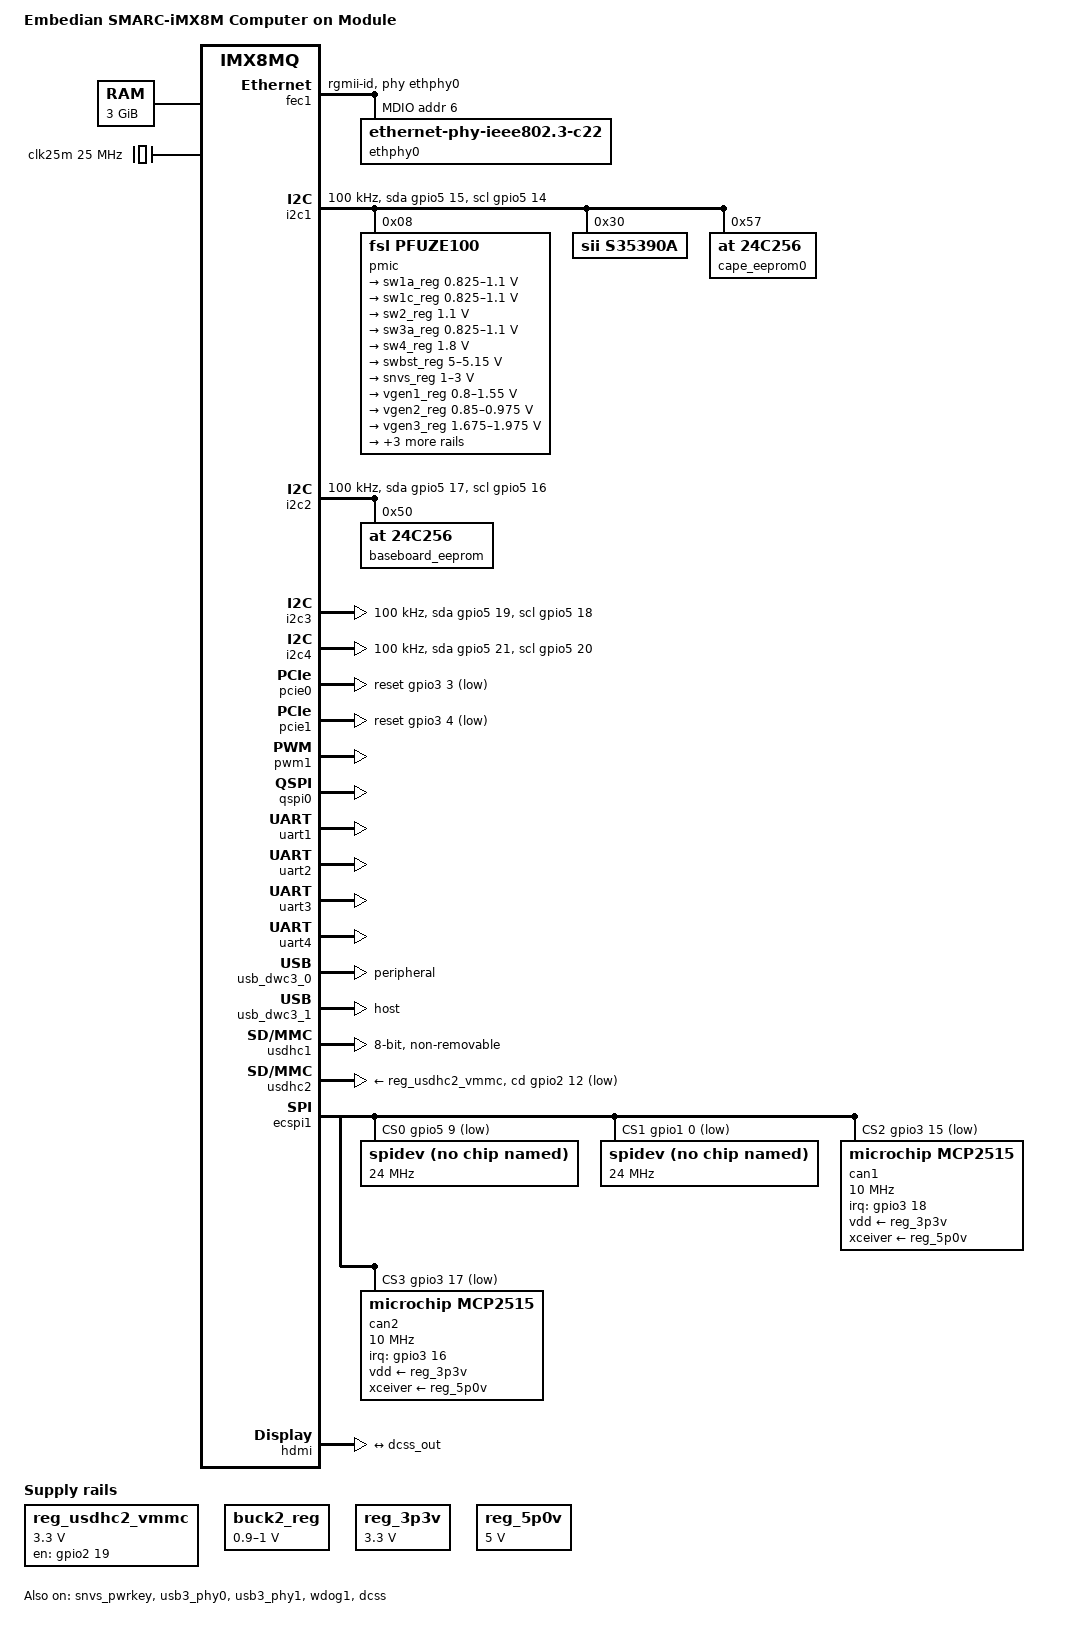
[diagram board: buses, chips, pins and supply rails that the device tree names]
// SPDX-License-Identifier: (GPL-2.0 OR MIT)
/*
 * Copyright 2017 NXP
 * Copyright (C) 2017-2018 Pengutronix, Lucas Stach <kernel@pengutronix.de>
 */

/dts-v1/;

#include "imx8mq.dtsi"

/ {
	model = "Embedian SMARC-iMX8M Computer on Module";
	compatible = "embedian,imx8mq-smarcimx8m", "fsl,imx8mq";

	firmware {
		optee {
			compatible = "linaro,optee-tz";
			method = "smc";
		};
	};

	memory@40000000 {
		device_type = "memory";
		reg = <0x00000000 0x40000000 0 0xc0000000>;
	};

	reg_usdhc2_vmmc: regulator-vsd-3v3 {
		pinctrl-names = "default";
		pinctrl-0 = <&pinctrl_reg_usdhc2>;
		compatible = "regulator-fixed";
		regulator-name = "VSD_3V3";
		regulator-min-microvolt = <3300000>;
		regulator-max-microvolt = <3300000>;
		gpio = <&gpio2 19 GPIO_ACTIVE_HIGH>;
		off-on-delay-us = <20000>;
		enable-active-high;
	};

	buck2_reg: regulator-buck2 {
		pinctrl-names = "default";
		pinctrl-0 = <&pinctrl_buck2>;
		compatible = "regulator-gpio";
		regulator-name = "vdd_arm";
		regulator-min-microvolt = <900000>;
		regulator-max-microvolt = <1000000>;
		gpios = <&gpio1 13 GPIO_ACTIVE_HIGH>;
		states = <1000000 0x0
			  900000 0x1>;
	};

        backlight: backlight {
                compatible = "pwm-backlight";
                pwms = <&pwm1 0 1000000 0>;
                brightness-levels = < 0  1  2  3  4  5  6  7  8  9
                                     10 11 12 13 14 15 16 17 18 19
                                     20 21 22 23 24 25 26 27 28 29
                                     30 31 32 33 34 35 36 37 38 39
                                     40 41 42 43 44 45 46 47 48 49
                                     50 51 52 53 54 55 56 57 58 59
                                     60 61 62 63 64 65 66 67 68 69
                                     70 71 72 73 74 75 76 77 78 79
                                     80 81 82 83 84 85 86 87 88 89
                                     90 91 92 93 94 95 96 97 98 99
                                    100>;
                default-brightness-level = <80>;
                status = "disabled";
        };

        reg_3p3v: 3p3v {
                compatible = "regulator-fixed";
                regulator-name = "3P3V";
                regulator-min-microvolt = <3300000>;
                regulator-max-microvolt = <3300000>;
                regulator-always-on;
        };

        reg_5p0v: 5p0v {
                compatible = "regulator-fixed";
                regulator-name = "5P0V";
                regulator-min-microvolt = <5000000>;
                regulator-max-microvolt = <5000000>;
                regulator-always-on;
        };

        /* external oscillator of mcp2515 on SPI1.0 and SPI1.1 */
        clk25m: clock-25m {
                compatible = "fixed-clock";
                #clock-cells = <0>;
                clock-frequency  = <25000000>;
                clock-output-names = "clk25m";
        };
};

&A53_0 {
	cpu-supply = <&buck2_reg>;
};

&A53_1 {
	cpu-supply = <&buck2_reg>;
};

&A53_2 {
	cpu-supply = <&buck2_reg>;
};

&A53_3 {
	cpu-supply = <&buck2_reg>;
};

&fec1 {
	pinctrl-names = "default";
	pinctrl-0 = <&pinctrl_fec1>;
	phy-mode = "rgmii-id";
	phy-handle = <&ethphy0>;
	fsl,magic-packet;
        interrupt-parent = <&gpio1>;
        interrupts = <11 IRQ_TYPE_EDGE_FALLING>;
	status = "okay";

	mdio {
		#address-cells = <1>;
		#size-cells = <0>;

		ethphy0: ethernet-phy@0 {
			compatible = "ethernet-phy-ieee802.3-c22";
			reg = <6>;
			at803x,eee-disabled;
		};
	};
};

&i2c1 {
	clock-frequency = <100000>;
	pinctrl-names = "default", "gpio";
	pinctrl-0 = <&pinctrl_i2c1>;
	pinctrl-1 = <&pinctrl_i2c1_gpio>;
	scl-gpios = <&gpio5 14 GPIO_ACTIVE_HIGH>;
	sda-gpios = <&gpio5 15 GPIO_ACTIVE_HIGH>;
	status = "okay";

	pmic@8 {
		compatible = "fsl,pfuze100";
		fsl,pfuze-support-disable-sw;
		reg = <0x8>;

		regulators {
			sw1a_reg: sw1ab {
				regulator-min-microvolt = <825000>;
				regulator-max-microvolt = <1100000>;
			};

			sw1c_reg: sw1c {
				regulator-min-microvolt = <825000>;
				regulator-max-microvolt = <1100000>;
			};

			sw2_reg: sw2 {
				regulator-min-microvolt = <1100000>;
				regulator-max-microvolt = <1100000>;
				regulator-always-on;
			};

			sw3a_reg: sw3ab {
				regulator-min-microvolt = <825000>;
				regulator-max-microvolt = <1100000>;
				regulator-always-on;
			};

			sw4_reg: sw4 {
				regulator-min-microvolt = <1800000>;
				regulator-max-microvolt = <1800000>;
				regulator-always-on;
			};

			swbst_reg: swbst {
				regulator-min-microvolt = <5000000>;
				regulator-max-microvolt = <5150000>;
			};

			snvs_reg: vsnvs {
				regulator-min-microvolt = <1000000>;
				regulator-max-microvolt = <3000000>;
				regulator-always-on;
			};

			vref_reg: vrefddr {
				regulator-always-on;
			};

			vgen1_reg: vgen1 {
				regulator-min-microvolt = <800000>;
				regulator-max-microvolt = <1550000>;
			};

			vgen2_reg: vgen2 {
				regulator-min-microvolt = <850000>;
				regulator-max-microvolt = <975000>;
				regulator-always-on;
			};

			vgen3_reg: vgen3 {
				regulator-min-microvolt = <1675000>;
				regulator-max-microvolt = <1975000>;
				regulator-always-on;
			};

			vgen4_reg: vgen4 {
				regulator-min-microvolt = <1625000>;
				regulator-max-microvolt = <1875000>;
				regulator-always-on;
			};

			vgen5_reg: vgen5 {
				regulator-min-microvolt = <3075000>;
				regulator-max-microvolt = <3625000>;
				regulator-always-on;
			};

			vgen6_reg: vgen6 {
				regulator-min-microvolt = <1800000>;
				regulator-max-microvolt = <3300000>;
			};
		};
	};

        s35390a: s35390a@30 {
                compatible = "sii,s35390a";
                reg = <0x30>;
        };

        cape_eeprom0: cape_eeprom@57 {
                compatible = "at,24c256";
                reg = <0x57>;
        };
};


&i2c2 {
	clock-frequency = <100000>;
	pinctrl-names = "default", "gpio";
	pinctrl-0 = <&pinctrl_i2c2>;
	pinctrl-1 = <&pinctrl_i2c2_gpio>;
	scl-gpios = <&gpio5 16 GPIO_ACTIVE_HIGH>;
	sda-gpios = <&gpio5 17 GPIO_ACTIVE_HIGH>;
	status = "okay";

        baseboard_eeprom: baseboard_eeprom@50 {
                compatible = "at,24c256";
                reg = <0x50>;
        };

        dsi_lvds_bridge: sn65dsi84@2c {
                status = "disabled";
                reg = <0x2c>;
                compatible = "ti,sn65dsi84";
                enable-gpios = <&gpio4 2 GPIO_ACTIVE_HIGH>;
                interrupt-parent = <&gpio4>;
                interrupts = <4 IRQ_TYPE_EDGE_FALLING>;

                /* AUO G070VW01 7-inch 800x480 LVDS Display */
                sn65dsi84,addresses = < 0x09 0x0A 0x0B 0x0D 0x10 0x11 0x12 0x13
                                        0x18 0x19 0x1A 0x1B 0x20 0x21 0x22 0x23
                                        0x24 0x25 0x26 0x27 0x28 0x29 0x2A 0x2B
                                        0x2C 0x2D 0x2E 0x2F 0x30 0x31 0x32 0x33
                                        0x34 0x35 0x36 0x37 0x38 0x39 0x3A 0x3B
                                        0x3C 0x3D 0x3E 0xE0 0x0D>;

                sn65dsi84,values =    < 0x00 0x01 0x10 0x00 0x26 0x00 0x13 0x00
                                        0x78 0x00 0x03 0x00 0x20 0x03 0x00 0x00
                                        0x00 0x00 0x00 0x00 0x21 0x00 0x00 0x00
                                        0x80 0x00 0x00 0x00 0x0e 0x00 0x00 0x00
                                        0x40 0x00 0x00 0x00 0x00 0x00 0x00 0x00
                                        0x00 0x00 0x00 0x01 0x01>;

                /* AUO G185XW01 18.5-inch 1366x768 LVDS Display */
                /*sn65dsi84,addresses = < 0x09 0x0A 0x0B 0x0D 0x10 0x11 0x12 0x13
                                        0x18 0x19 0x1A 0x1B 0x20 0x21 0x22 0x23
                                        0x24 0x25 0x26 0x27 0x28 0x29 0x2A 0x2B
                                        0x2C 0x2D 0x2E 0x2F 0x30 0x31 0x32 0x33
                                        0x34 0x35 0x36 0x37 0x38 0x39 0x3A 0x3B
                                        0x3C 0x3D 0x3E 0xE0 0x0D>;

                sn65dsi84,values =    < 0x00 0x05 0x10 0x00 0x26 0x00 0x2E 0x00
                                        0x78 0x00 0x03 0x00 0x56 0x05 0x00 0x00
                                        0x00 0x00 0x00 0x00 0x21 0x00 0x00 0x00
                                        0x78 0x00 0x00 0x00 0x12 0x00 0x00 0x00
                                        0x3C 0x00 0x00 0x00 0x00 0x00 0x00 0x00
                                        0x00 0x00 0x00 0x01 0x01>;*/

                /* AUO G240HW01 V0 24-inch 1920x1080 LVDS Display */
                /*sn65dsi84,addresses = < 0x09 0x0A 0x0B 0x0D 0x10 0x11 0x12 0x13
                                        0x18 0x19 0x1A 0x1B 0x20 0x21 0x22 0x23
                                        0x24 0x25 0x26 0x27 0x28 0x29 0x2A 0x2B
                                        0x2C 0x2D 0x2E 0x2F 0x30 0x31 0x32 0x33
                                        0x34 0x35 0x36 0x37 0x38 0x39 0x3A 0x3B
                                        0x3C 0x3D 0x3E 0xE0 0x0D>;

                sn65dsi84,values =    < 0x00 0x05 0x20 0x00 0x26 0x00 0x4E 0x00
                                        0x6C 0x00 0x03 0x00 0x80 0x07 0x00 0x00
                                        0x00 0x00 0x00 0x00 0xC3 0x00 0x00 0x00
                                        0x32 0x00 0x00 0x00 0x14 0x00 0x00 0x00
                                        0x19 0x00 0x00 0x00 0x00 0x00 0x00 0x00
                                        0x00 0x00 0x00 0x01 0x01>;*/
        };
};

&i2c3 {
        clock-frequency = <100000>;
        pinctrl-names = "default", "gpio";
        pinctrl-0 = <&pinctrl_i2c3>;
        pinctrl-1 = <&pinctrl_i2c3_gpio>;
        scl-gpios = <&gpio5 18 GPIO_ACTIVE_HIGH>;
        sda-gpios = <&gpio5 19 GPIO_ACTIVE_HIGH>;
        status = "okay";
};

&i2c4 {
        clock-frequency = <100000>;
        pinctrl-names = "default", "gpio";
        pinctrl-0 = <&pinctrl_i2c4>;
        pinctrl-1 = <&pinctrl_i2c4_gpio>;
        scl-gpios = <&gpio5 20 GPIO_ACTIVE_HIGH>;
        sda-gpios = <&gpio5 21 GPIO_ACTIVE_HIGH>;
        status = "okay";
};

&pcie0 {
	pinctrl-names = "default";
	pinctrl-0 = <&pinctrl_pcie0>;
	reset-gpio = <&gpio3 3 GPIO_ACTIVE_LOW>;
	ext_osc= <1>;
	status = "okay";
};

&pcie1 {
        pinctrl-names = "default";
        pinctrl-0 = <&pinctrl_pcie1>;
        reset-gpio = <&gpio3 4 GPIO_ACTIVE_LOW>;
        ext_osc = <1>;
        status = "okay";
};

&pwm1 {
        pinctrl-names = "default";
        pinctrl-0 = <&pinctrl_pwm1>;
        status = "okay";
};

&pgc_gpu {
	power-supply = <&sw1a_reg>;
};

&snvs_pwrkey {
	status = "okay";
};

&qspi0 {
	pinctrl-names = "default";
	pinctrl-0 = <&pinctrl_qspi>;
	status = "okay";
};

&uart1 {
	pinctrl-names = "default";
	pinctrl-0 = <&pinctrl_uart1>;
	assigned-clocks = <&clk IMX8MQ_CLK_UART1>;
	assigned-clock-parents = <&clk IMX8MQ_CLK_25M>;
	status = "okay";
};

&uart2 {
        pinctrl-names = "default";
        pinctrl-0 = <&pinctrl_uart2>;
        assigned-clocks = <&clk IMX8MQ_CLK_UART2>;
        assigned-clock-parents = <&clk IMX8MQ_SYS1_PLL_80M>;
        fsl,uart-has-rtscts;
        status = "okay";
};

&uart3 {
        pinctrl-names = "default";
        pinctrl-0 = <&pinctrl_uart3>;
        assigned-clocks = <&clk IMX8MQ_CLK_UART3>;
        assigned-clock-parents = <&clk IMX8MQ_CLK_25M>;
        status = "okay";
};

&uart4 {
        pinctrl-names = "default";
        pinctrl-0 = <&pinctrl_uart4>;
        assigned-clocks = <&clk IMX8MQ_CLK_UART4>;
        assigned-clock-parents = <&clk IMX8MQ_SYS1_PLL_80M>;
        fsl,uart-has-rtscts;
        status = "okay";
};

&usb3_phy0 {
	status = "okay";
};

&usb_dwc3_0 {
	dr_mode = "peripheral";
	hnp-disable;
	srp-disable;
	adp-disable;
	usb-role-switch;
	snps,dis-u1-entry-quirk;
	snps,dis-u2-entry-quirk;
	status = "okay";
};

&usb3_phy1 {
	status = "okay";
};

&usb_dwc3_1 {
	dr_mode = "host";
	status = "okay";
};

&usdhc1 {
	pinctrl-names = "default", "state_100mhz", "state_200mhz";
	pinctrl-0 = <&pinctrl_usdhc1>;
	pinctrl-1 = <&pinctrl_usdhc1_100mhz>;
	pinctrl-2 = <&pinctrl_usdhc1_200mhz>;
	vqmmc-supply = <&sw4_reg>;
	bus-width = <8>;
	non-removable;
	no-sd;
	no-sdio;
	mmc-hs400-1_8v;
	status = "okay";
};

&usdhc2 {
	pinctrl-names = "default", "state_100mhz", "state_200mhz";
	pinctrl-0 = <&pinctrl_usdhc2>;
	pinctrl-1 = <&pinctrl_usdhc2_100mhz>;
	pinctrl-2 = <&pinctrl_usdhc2_200mhz>;
	cd-gpios = <&gpio2 12 GPIO_ACTIVE_LOW>;
	vmmc-supply = <&reg_usdhc2_vmmc>;
	sd-uhs-sdr104;
	sd-uhs-ddr50;
	status = "okay";
};

&ecspi1 {
        #address-cells = <1>;
        #size-cells = <0>;
        fsl,spi-num-chipselects = <4>;
        pinctrl-names = "default";
        pinctrl-0 = <&pinctrl_ecspi1>;
        cs-gpios = <&gpio5 9 GPIO_ACTIVE_LOW>,
                   <&gpio1 0 GPIO_ACTIVE_LOW>,
                   <&gpio3 15 GPIO_ACTIVE_LOW>,
                   <&gpio3 17 GPIO_ACTIVE_LOW>;
        fsl,spi-num-chipselects = <4>;
        /*dmas = <&sdma2 10 24 0>, <&sdma2 11 24 0>;
        dma-names = "rx", "tx";*/
        status = "okay";

        spidev@0 {
                compatible = "rohm,dh2228fv";
                reg = <0>;
                spi-max-frequency = <24000000>;
                };

        spidev@1 {
                compatible = "rohm,dh2228fv";
                reg = <1>;
                spi-max-frequency = <24000000>;
                };

        can1: can@2 {
                compatible = "microchip,mcp2515";
                reg = <2>;
                interrupt-parent = <&gpio3>;
                interrupts = <18 IRQ_TYPE_EDGE_FALLING>;
                spi-max-frequency = <10000000>;
                clocks = <&clk25m>;
                vdd-supply = <&reg_3p3v>;
                xceiver-supply = <&reg_5p0v>;
                status = "okay";
        };

         can2: can@3 {
                compatible = "microchip,mcp2515";
                reg = <3>;
                interrupt-parent = <&gpio3>;
                interrupts = <16 IRQ_TYPE_EDGE_FALLING>;
                spi-max-frequency = <10000000>;
                clocks = <&clk25m>;
                vdd-supply = <&reg_3p3v>;
                xceiver-supply = <&reg_5p0v>;
                status = "okay";
        };
};

&wdog1 {
	pinctrl-names = "default";
	pinctrl-0 = <&pinctrl_wdog>;
	fsl,ext-reset-output;
	status = "okay";
};

&dcss {
        status = "okay";
        port@0 {
                dcss_out: endpoint {
                        remote-endpoint = <&hdmi_in>;
                };
        };
};

&hdmi {
        compatible = "fsl,imx8mq-hdmi";
        status = "okay";

        display-timings {
                native-mode = <&timing1>;

                timing1: timing1 {
                        clock-frequency = <74250000>;
                        hactive = <1280>;
                        vactive = <720>;
                        hfront-porch = <220>;
                        hback-porch = <110>;
                        hsync-len = <40>;
                        vback-porch = <5>;
                        vfront-porch = <20>;
                        vsync-len = <5>;
                };
        };

        port@0 {
                hdmi_in: endpoint {
                        remote-endpoint = <&dcss_out>;
                };
        };
};

&iomuxc {
	pinctrl-names = "default";

	pinctrl_buck2: vddarmgrp {
		fsl,pins = <
			MX8MQ_IOMUXC_GPIO1_IO13_GPIO1_IO13		0x19
		>;

	};

	pinctrl_fec1: fec1grp {
		fsl,pins = <
			MX8MQ_IOMUXC_ENET_MDC_ENET1_MDC			0x3
			MX8MQ_IOMUXC_ENET_MDIO_ENET1_MDIO		0x23
			MX8MQ_IOMUXC_ENET_TD3_ENET1_RGMII_TD3		0x1f
			MX8MQ_IOMUXC_ENET_TD2_ENET1_RGMII_TD2		0x1f
			MX8MQ_IOMUXC_ENET_TD1_ENET1_RGMII_TD1		0x1f
			MX8MQ_IOMUXC_ENET_TD0_ENET1_RGMII_TD0		0x1f
			MX8MQ_IOMUXC_ENET_RD3_ENET1_RGMII_RD3		0x91
			MX8MQ_IOMUXC_ENET_RD2_ENET1_RGMII_RD2		0x91
			MX8MQ_IOMUXC_ENET_RD1_ENET1_RGMII_RD1		0x91
			MX8MQ_IOMUXC_ENET_RD0_ENET1_RGMII_RD0		0x91
			MX8MQ_IOMUXC_ENET_TXC_ENET1_RGMII_TXC		0x1f
			MX8MQ_IOMUXC_ENET_RXC_ENET1_RGMII_RXC		0x91
			MX8MQ_IOMUXC_ENET_RX_CTL_ENET1_RGMII_RX_CTL	0x91
			MX8MQ_IOMUXC_ENET_TX_CTL_ENET1_RGMII_TX_CTL	0x1f
		>;
	};

	pinctrl_i2c1: i2c1grp {
		fsl,pins = <
			MX8MQ_IOMUXC_I2C1_SCL_I2C1_SCL			0x4000007f
			MX8MQ_IOMUXC_I2C1_SDA_I2C1_SDA			0x4000007f
		>;
	};

	pinctrl_i2c2: i2c2grp {
		fsl,pins = <
			MX8MQ_IOMUXC_I2C2_SCL_I2C2_SCL			0x4000007f
			MX8MQ_IOMUXC_I2C2_SDA_I2C2_SDA			0x4000007f
		>;
	};

               pinctrl_i2c3: i2c3grp {
                        fsl,pins = <
                	MX8MQ_IOMUXC_I2C3_SCL_I2C3_SCL                  0x4000007f
             		MX8MQ_IOMUXC_I2C3_SDA_I2C3_SDA                  0x4000007f
                        >;
                };

                pinctrl_i2c4: i2c4grp {
                        fsl,pins = <
                  	MX8MQ_IOMUXC_I2C4_SCL_I2C4_SCL                  0x4000007f
                	MX8MQ_IOMUXC_I2C4_SDA_I2C4_SDA                  0x4000007f
                        >;
                };

	pinctrl_i2c1_gpio: i2c1grp-gpio {
		fsl,pins = <
			MX8MQ_IOMUXC_I2C1_SCL_GPIO5_IO14        		0x7f
			MX8MQ_IOMUXC_I2C1_SDA_GPIO5_IO15        		0x7f
		>;
	};

	pinctrl_i2c2_gpio: i2c2grp-gpio {
		fsl,pins = <
			MX8MQ_IOMUXC_I2C2_SCL_GPIO5_IO16        		0x7f
			MX8MQ_IOMUXC_I2C2_SDA_GPIO5_IO17        		0x7f
		>;
	};

                pinctrl_i2c3_gpio: i2c3grp-gpio {
                        fsl,pins = <
                   	MX8MQ_IOMUXC_I2C3_SCL_GPIO5_IO18                        0x7f
               		MX8MQ_IOMUXC_I2C3_SDA_GPIO5_IO19                        0x7f
                        >;
                };

                pinctrl_i2c4_gpio: i2c4grp-gpio {
                        fsl,pins = <
                   	MX8MQ_IOMUXC_I2C4_SCL_GPIO5_IO20                        0x7f
              		MX8MQ_IOMUXC_I2C4_SDA_GPIO5_IO21                        0x7f
                        >;
                };

                pinctrl_pcie0: pcie0grp {
                        fsl,pins = <
                                MX8MQ_IOMUXC_NAND_CE2_B_GPIO3_IO3       0x16
                        >;
                };

                pinctrl_pcie1: pcie1grp {
                        fsl,pins = <
                                MX8MQ_IOMUXC_NAND_CE3_B_GPIO3_IO4       0x16
                        >;
                };

                pinctrl_pwm1: pwm1grp {
                        fsl,pins = <
                                MX8MQ_IOMUXC_SPDIF_EXT_CLK_PWM1_OUT     0x16
                        >;
                };

	pinctrl_qspi: qspigrp {
		fsl,pins = <
			MX8MQ_IOMUXC_NAND_ALE_QSPI_A_SCLK	0x82
			MX8MQ_IOMUXC_NAND_CE0_B_QSPI_A_SS0_B	0x82
			MX8MQ_IOMUXC_NAND_DATA00_QSPI_A_DATA0	0x82
			MX8MQ_IOMUXC_NAND_DATA01_QSPI_A_DATA1	0x82
			MX8MQ_IOMUXC_NAND_DATA02_QSPI_A_DATA2	0x82
			MX8MQ_IOMUXC_NAND_DATA03_QSPI_A_DATA3	0x82

		>;
	};

                pinctrl_uart1: uart1grp {
                        fsl,pins = <
                                MX8MQ_IOMUXC_UART1_RXD_UART1_DCE_RX             0x49
                                MX8MQ_IOMUXC_UART1_TXD_UART1_DCE_TX             0x49
                        >;
                };

                pinctrl_uart2: uart2grp {
                        fsl,pins = <
                                MX8MQ_IOMUXC_UART2_RXD_UART2_DCE_RX             0x79
                                MX8MQ_IOMUXC_UART2_TXD_UART2_DCE_TX             0x79
				MX8MQ_IOMUXC_UART4_TXD_UART2_DCE_RTS_B		0x79	/* RTS */
				MX8MQ_IOMUXC_UART4_RXD_UART2_DCE_CTS_B		0x79	/* CTS */
                        >;
                };

                pinctrl_uart3: uart3grp {
                        fsl,pins = <
                                MX8MQ_IOMUXC_UART3_RXD_UART3_DCE_RX             0x79
                                MX8MQ_IOMUXC_UART3_TXD_UART3_DCE_TX             0x79
                        >;
                };

                pinctrl_uart4: uart4grp {
                        fsl,pins = <
				MX8MQ_IOMUXC_ECSPI2_SCLK_UART4_DCE_RX		0x79
				MX8MQ_IOMUXC_ECSPI2_MOSI_UART4_DCE_TX		0x79
				MX8MQ_IOMUXC_ECSPI2_SS0_UART4_DCE_RTS_B		0x79	/* RTS */
				MX8MQ_IOMUXC_ECSPI2_MISO_UART4_DCE_CTS_B	0x79	/* CTS */
                        >;
                };

	pinctrl_reg_usdhc2: regusdhc2grpgpio {
		fsl,pins = <
                                MX8MQ_IOMUXC_SD2_WP_GPIO2_IO20          0x41
                                MX8MQ_IOMUXC_SD2_CD_B_GPIO2_IO12        0x41
                                MX8MQ_IOMUXC_SD2_RESET_B_GPIO2_IO19     0x41
		>;
	};

	pinctrl_sai2: sai2grp {
		fsl,pins = <
			MX8MQ_IOMUXC_SAI2_TXFS_SAI2_TX_SYNC     0xd6
			MX8MQ_IOMUXC_SAI2_TXC_SAI2_TX_BCLK      0xd6
			MX8MQ_IOMUXC_SAI2_MCLK_SAI2_MCLK        0xd6
			MX8MQ_IOMUXC_SAI2_TXD0_SAI2_TX_DATA0    0xd6
			MX8MQ_IOMUXC_GPIO1_IO08_GPIO1_IO8       0xd6
		>;
	};

	pinctrl_ss_sel: usb3ssgrp{
		fsl,pins = <
			MX8MQ_IOMUXC_NAND_RE_B_GPIO3_IO15		0x16
		>;
	};

	pinctrl_typec: typecgrp {
		fsl,pins = <
			MX8MQ_IOMUXC_NAND_CE2_B_GPIO3_IO3		0x17059
		>;
	};

	pinctrl_usdhc1: usdhc1grp {
		fsl,pins = <
			MX8MQ_IOMUXC_SD1_CLK_USDHC1_CLK			0x83
			MX8MQ_IOMUXC_SD1_CMD_USDHC1_CMD			0xc3
			MX8MQ_IOMUXC_SD1_DATA0_USDHC1_DATA0		0xc3
			MX8MQ_IOMUXC_SD1_DATA1_USDHC1_DATA1		0xc3
			MX8MQ_IOMUXC_SD1_DATA2_USDHC1_DATA2		0xc3
			MX8MQ_IOMUXC_SD1_DATA3_USDHC1_DATA3		0xc3
			MX8MQ_IOMUXC_SD1_DATA4_USDHC1_DATA4		0xc3
			MX8MQ_IOMUXC_SD1_DATA5_USDHC1_DATA5		0xc3
			MX8MQ_IOMUXC_SD1_DATA6_USDHC1_DATA6		0xc3
			MX8MQ_IOMUXC_SD1_DATA7_USDHC1_DATA7		0xc3
			MX8MQ_IOMUXC_SD1_STROBE_USDHC1_STROBE		0x83
			MX8MQ_IOMUXC_SD1_RESET_B_USDHC1_RESET_B		0xc1
		>;
	};

	pinctrl_usdhc1_100mhz: usdhc1-100grp {
		fsl,pins = <
			MX8MQ_IOMUXC_SD1_CLK_USDHC1_CLK			0x8d
			MX8MQ_IOMUXC_SD1_CMD_USDHC1_CMD			0xcd
			MX8MQ_IOMUXC_SD1_DATA0_USDHC1_DATA0		0xcd
			MX8MQ_IOMUXC_SD1_DATA1_USDHC1_DATA1		0xcd
			MX8MQ_IOMUXC_SD1_DATA2_USDHC1_DATA2		0xcd
			MX8MQ_IOMUXC_SD1_DATA3_USDHC1_DATA3		0xcd
			MX8MQ_IOMUXC_SD1_DATA4_USDHC1_DATA4		0xcd
			MX8MQ_IOMUXC_SD1_DATA5_USDHC1_DATA5		0xcd
			MX8MQ_IOMUXC_SD1_DATA6_USDHC1_DATA6		0xcd
			MX8MQ_IOMUXC_SD1_DATA7_USDHC1_DATA7		0xcd
			MX8MQ_IOMUXC_SD1_STROBE_USDHC1_STROBE		0x8d
			MX8MQ_IOMUXC_SD1_RESET_B_USDHC1_RESET_B		0xc1
		>;
	};

	pinctrl_usdhc1_200mhz: usdhc1-200grp {
		fsl,pins = <
			MX8MQ_IOMUXC_SD1_CLK_USDHC1_CLK			0x9f
			MX8MQ_IOMUXC_SD1_CMD_USDHC1_CMD			0xdf
			MX8MQ_IOMUXC_SD1_DATA0_USDHC1_DATA0		0xdf
			MX8MQ_IOMUXC_SD1_DATA1_USDHC1_DATA1		0xdf
			MX8MQ_IOMUXC_SD1_DATA2_USDHC1_DATA2		0xdf
			MX8MQ_IOMUXC_SD1_DATA3_USDHC1_DATA3		0xdf
			MX8MQ_IOMUXC_SD1_DATA4_USDHC1_DATA4		0xdf
			MX8MQ_IOMUXC_SD1_DATA5_USDHC1_DATA5		0xdf
			MX8MQ_IOMUXC_SD1_DATA6_USDHC1_DATA6		0xdf
			MX8MQ_IOMUXC_SD1_DATA7_USDHC1_DATA7		0xdf
			MX8MQ_IOMUXC_SD1_STROBE_USDHC1_STROBE		0x9f
			MX8MQ_IOMUXC_SD1_RESET_B_USDHC1_RESET_B		0xc1
		>;
	};

	pinctrl_usdhc2: usdhc2grp {
		fsl,pins = <
			MX8MQ_IOMUXC_SD2_CLK_USDHC2_CLK			0x83
			MX8MQ_IOMUXC_SD2_CMD_USDHC2_CMD			0xc3
			MX8MQ_IOMUXC_SD2_DATA0_USDHC2_DATA0		0xc3
			MX8MQ_IOMUXC_SD2_DATA1_USDHC2_DATA1		0xc3
			MX8MQ_IOMUXC_SD2_DATA2_USDHC2_DATA2		0xc3
			MX8MQ_IOMUXC_SD2_DATA3_USDHC2_DATA3		0xc3
			MX8MQ_IOMUXC_GPIO1_IO04_USDHC2_VSELECT		0xc1
		>;
	};

	pinctrl_usdhc2_100mhz: usdhc2-100grp {
		fsl,pins = <
			MX8MQ_IOMUXC_SD2_CLK_USDHC2_CLK			0x85
			MX8MQ_IOMUXC_SD2_CMD_USDHC2_CMD			0xc5
			MX8MQ_IOMUXC_SD2_DATA0_USDHC2_DATA0		0xc5
			MX8MQ_IOMUXC_SD2_DATA1_USDHC2_DATA1		0xc5
			MX8MQ_IOMUXC_SD2_DATA2_USDHC2_DATA2		0xc5
			MX8MQ_IOMUXC_SD2_DATA3_USDHC2_DATA3		0xc5
			MX8MQ_IOMUXC_GPIO1_IO04_USDHC2_VSELECT		0xc1
		>;
	};

	pinctrl_usdhc2_200mhz: usdhc2-200grp {
		fsl,pins = <
			MX8MQ_IOMUXC_SD2_CLK_USDHC2_CLK			0x87
			MX8MQ_IOMUXC_SD2_CMD_USDHC2_CMD			0xc7
			MX8MQ_IOMUXC_SD2_DATA0_USDHC2_DATA0		0xc7
			MX8MQ_IOMUXC_SD2_DATA1_USDHC2_DATA1		0xc7
			MX8MQ_IOMUXC_SD2_DATA2_USDHC2_DATA2		0xc7
			MX8MQ_IOMUXC_SD2_DATA3_USDHC2_DATA3		0xc7
			MX8MQ_IOMUXC_GPIO1_IO04_USDHC2_VSELECT		0xc1
		>;
	};

	pinctrl_wdog: wdog1grp {
		fsl,pins = <
			MX8MQ_IOMUXC_GPIO1_IO02_WDOG1_WDOG_B		0xc6
		>;
	};

        pinctrl_ecspi1: ecspi1grp {
                fsl,pins = <
                        MX8MQ_IOMUXC_ECSPI1_SCLK_ECSPI1_SCLK            0x82
                        MX8MQ_IOMUXC_ECSPI1_MOSI_ECSPI1_MOSI            0x82
                        MX8MQ_IOMUXC_ECSPI1_MISO_ECSPI1_MISO            0x82
                        MX8MQ_IOMUXC_ECSPI1_SS0_GPIO5_IO9               0x19
                        MX8MQ_IOMUXC_GPIO1_IO00_GPIO1_IO0               0x19
                        MX8MQ_IOMUXC_NAND_RE_B_GPIO3_IO15               0x19
                        MX8MQ_IOMUXC_NAND_WE_B_GPIO3_IO17               0x19
                >;
        };

	pinctrl_wifi_reset: wifiresetgrp {
		fsl,pins = <
			MX8MQ_IOMUXC_UART4_TXD_GPIO5_IO29		0x16
		>;
	};
};
